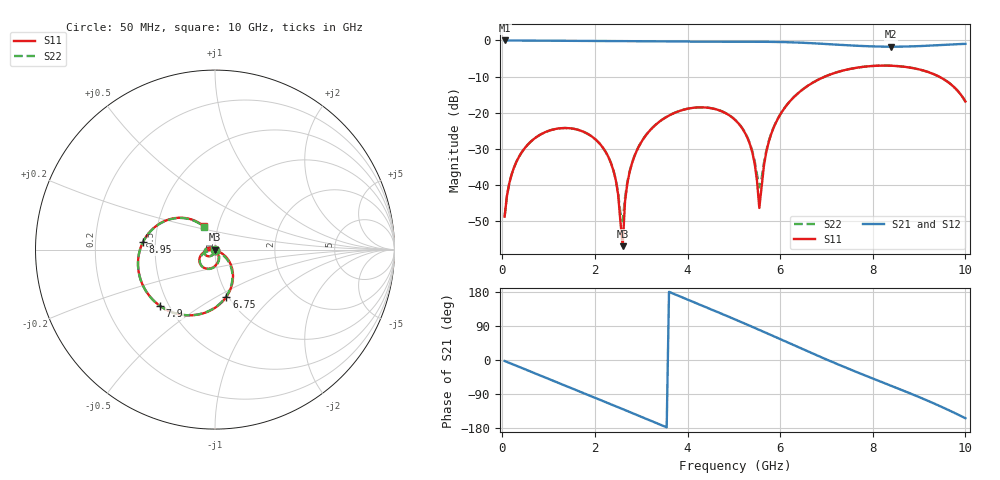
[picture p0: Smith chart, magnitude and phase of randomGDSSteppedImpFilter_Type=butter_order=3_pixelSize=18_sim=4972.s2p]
! freq	dB(S11)	phase(S11)	dB(S12)	phase(S12)
!  dB(S21)	phase(S21)	dB(S22)	phase(S22)
!S-par simulation data
#  GHz  S  DB  R 50
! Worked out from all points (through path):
!   200 points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, 50 MHz to 10 GHz, reference 50 ohm
!   highest |S21| = 0.00 dB at 50 MHz (marker M1); lowest = -1.7 dB at 8.4 GHz (marker M2)
!   group delay of S21, straight-line fit = 143 ps
!   lowest |S11| = -56.9 dB at 2.6 GHz (marker M3), VSWR 1.00, Z = 50.1 - j0.0342 ohm
!   |S11| at or under -10 dB: start of sweep to 6.968 GHz; 9.429 GHz to end of sweep
!   |S22| runs from -50.0 to -7.0 dB; largest |S21 - S12| = 0
!   S11 on the Smith chart (normalised r, x): 50 MHz: 1.00, -0.01; 6.75 GHz: 0.98, -0.56; 7.9 GHz: 0.45, -0.35; 8.95 GHz: 0.43, +0.04; 10 GHz: 0.86, +0.23
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0.05  -48.79 -87.3  -0.00 -2.5  -0.00 -2.5  -48.79 -87.3
0.2  -37.15 -98.8  -0.02 -10.0  -0.02 -10.0  -37.15 -98.8
0.55  -28.84 -117.7  -0.04 -27.5  -0.04 -27.5  -28.84 -117.9
1.75  -25.26 -178.1  -0.11 -87.0  -0.11 -87.0  -25.26 -179.4
2.35  -34.05 151.2  -0.14 -117.0  -0.14 -117.0  -34.02 145.3
2.5  -42.51 141.8  -0.15 -124.6  -0.15 -124.6  -42.09 125.3
2.6  -56.94 -13.9  -0.15 -129.6  -0.15 -129.6  -50.02 24.1
2.65  -44.61 -38.8  -0.16 -132.1  -0.16 -132.1  -43.61 -16.2
2.8  -34.03 -49.2  -0.17 -139.7  -0.17 -139.7  -33.90 -41.5
3.4  -22.42 -80.1  -0.24 -170.1  -0.24 -170.1  -22.40 -77.4
5.05  -22.28 -161.6  -0.36 105.9  -0.36 105.9  -22.24 -158.1
5.4  -31.02 -173.9  -0.36 87.5  -0.36 87.5  -30.70 -164.8
5.55  -46.37 -116.3  -0.37 79.5  -0.37 79.5  -40.64 -108.5
5.7  -30.91 -28.2  -0.38 71.4  -0.38 71.4  -30.57 -36.9
5.85  -24.41 -31.4  -0.40 63.3  -0.40 63.3  -24.33 -35.5
6.7  -11.72 -73.9  -0.77 17.2  -0.77 17.2  -11.71 -74.6
6.75  -11.36 -76.5  -0.81 14.5  -0.81 14.5  -11.35 -77.2
7.9  -7.16 -134.5  -1.61 -43.9  -1.61 -43.9  -7.16 -134.6
8.35  -6.98 -156.2  -1.73 -65.7  -1.73 -65.7  -6.97 -156.2
8.4  -7.00 -158.6  -1.73 -68.1  -1.73 -68.1  -6.99 -158.6
8.95  -7.87 174.3  -1.60 -95.3  -1.60 -95.3  -7.86 174.4
10  -16.90 115.5  -0.95 -153.7  -0.95 -153.7  -16.89 116.5
